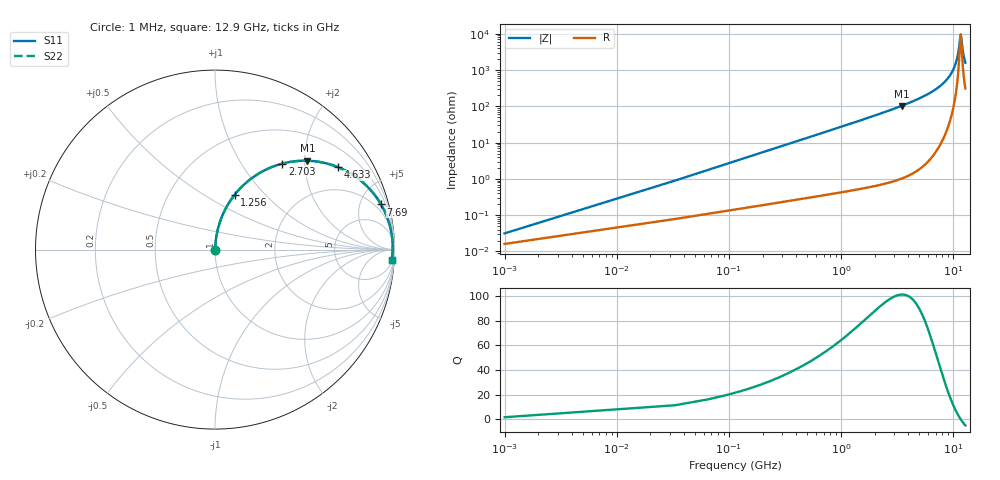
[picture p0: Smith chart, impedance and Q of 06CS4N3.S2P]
! Coilcraft 0603CS-4N3 Chip Inductor
! 21 May 2002
# MHZ S MA R 50
!Freq  MagS11  AngS11  MagS21  AngS21  MagS12  AngS12  MagS22  AngS22
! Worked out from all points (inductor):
!   402 points, 1 MHz to 12.9 GHz, reference 50 ohm
!   read as one part in series: L = 4.3 nH near 65.34 MHz
!   highest Q = 101 at 3.475 GHz (marker M1), where L = 4.72 nH
!   self-resonance near 11.68 GHz
!   S11 on the Smith chart (normalised r, x): 1 MHz: 1.00, +0.00; 1.256 GHz: 1.01, +0.69; 2.703 GHz: 1.02, +1.54; 4.633 GHz: 1.03, +2.97; 7.69 GHz: 1.17, +7.30; 12.9 GHz: 7, -31
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1  0.0003145 59.2  0.9998 -0.0  0.9998 -0.0  0.0003145 59.2
97.51  0.02634 85.6  0.9983 -1.5  0.9983 -1.5  0.02634 85.6
161.85  0.04365 85.3  0.9974 -2.5  0.9974 -2.5  0.04365 85.3
226.19  0.06093 84.6  0.9961 -3.5  0.9961 -3.5  0.06093 84.6
387.04  0.1039 82.6  0.992 -6.0  0.992 -6.0  0.1039 82.6
612.23  0.1631 79.5  0.9834 -9.4  0.9834 -9.4  0.1631 79.5
1255.63  0.3233 70.3  0.9418 -18.9  0.9418 -18.9  0.3233 70.3
2156.39  0.5139 58.4  0.8522 -30.9  0.8522 -30.9  0.5139 58.4
2703.28  0.6079 52.0  0.7878 -37.4  0.7878 -37.4  0.6079 52.0
3475.36  0.7139 43.9  0.6933 -45.5  0.6933 -45.5  0.7139 43.9
4311.78  0.7992 36.4  0.5929 -53.1  0.5929 -53.1  0.7992 36.4
4633.48  0.8253 33.8  0.556 -55.6  0.556 -55.6  0.8253 33.8
6467.17  0.9243 21.6  0.3676 -67.5  0.3676 -67.5  0.9243 21.6
7689.63  0.9587 15.2  0.2624 -73.4  0.2624 -73.4  0.9587 15.2
8622.56  0.9746 11.0  0.1915 -76.9  0.1915 -76.9  0.9746 11.0
9909.36  0.9864 6.0  0.1048 -79.5  0.1048 -79.5  0.9864 6.0
10777.95  0.9895 3.0  0.05266 -77.0  0.05266 -77.0  0.9895 3.0
11163.99  0.9899 1.7  0.03133 -70.4  0.03133 -70.4  0.9899 1.7
11614.37  0.9898 0.3  0.01138 -26.2  0.01138 -26.2  0.9898 0.3
11710.88  0.9897 -0.0  0.01031 0.5  0.01031 0.5  0.9897 -0.0
12289.94  0.9884 -1.7  0.03221 68.1  0.03221 68.1  0.9884 -1.7
12900  0.9862 -3.5  0.0616 75.3  0.0616 75.3  0.9862 -3.5
